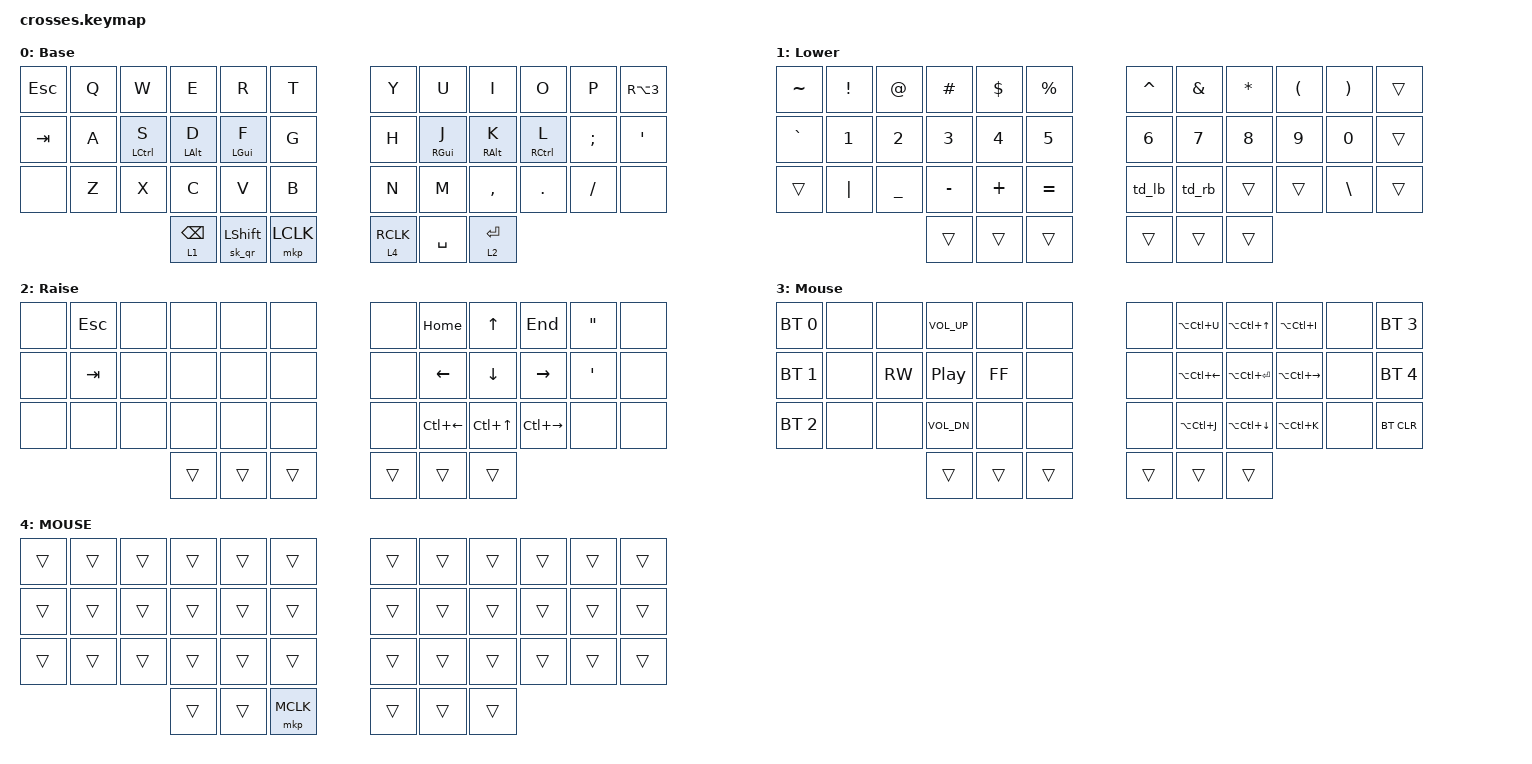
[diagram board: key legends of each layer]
#define ZMK_POINTING_DEFAULT_SCRL_VAL 1

#include <behaviors.dtsi>
#include <dt-bindings/zmk/bt.h>
#include <dt-bindings/zmk/keys.h>
#include <dt-bindings/zmk/pointing.h>

&msc {
    acceleration-exponent = <0>;
    time-to-max-speed-ms = <0>;
    delay-ms = <0>;
};

/ {
    chosen { zmk,physical-layout = &gggw_crosses_42_layout; };

    behaviors {
        ht_hrm: ht_hrm {
            compatible = "zmk,behavior-hold-tap";
            label = "HT_HRM";
            bindings = <&kp>, <&kp>;

            #binding-cells = <2>;
            flavor = "balanced";
            tapping-term-ms = <300>;
            require-prior-idle-ms = <150>;
            retro-tap;
        };

        ht_mo: ht_mo {
            compatible = "zmk,behavior-hold-tap";
            label = "HT_MO";
            bindings = <&mo>, <&kp>;

            #binding-cells = <2>;
            flavor = "balanced";
            tapping-term-ms = <300>;
            require-prior-idle-ms = <150>;
            retro-tap;
        };

        ht_mkp: ht_mkp {
            compatible = "zmk,behavior-hold-tap";
            label = "HT_MKP";
            bindings = <&mo>, <&mkp>;

            #binding-cells = <2>;
            flavor = "balanced";
            retro-tap;
            tapping-term-ms = <300>;
            require-prior-idle-ms = <150>;
        };

        td_lb: td_lb {
            compatible = "zmk,behavior-tap-dance";
            label = "TD_LB";
            #binding-cells = <0>;
            bindings = <&kp LEFT_BRACE>, <&kp LEFT_BRACKET>;

            tapping-term-ms = <500>;
        };

        td_rb: td_rb {
            compatible = "zmk,behavior-tap-dance";
            label = "TD_RB";
            #binding-cells = <0>;
            bindings = <&kp RIGHT_BRACE>, <&kp RIGHT_BRACKET>;

            tapping-term-ms = <500>;
        };

        sk_qr: sk_qr {
            compatible = "zmk,behavior-sticky-key";
            label = "SK_QR";
            bindings = <&kp>;
            #binding-cells = <1>;
            release-after-ms = <2500>;
            quick-release;
            lazy;
            ignore-modifiers;
        };
    };

    keymap {
        compatible = "zmk,keymap";

        default {
            display-name = "Base";
            bindings = <
&kp ESC  &kp Q  &kp W                   &kp E               &kp R               &kp T      &kp Y           &kp U                &kp I                &kp O                    &kp P     &kp RA(NUMBER_3)
&kp TAB  &kp A  &ht_hrm LEFT_CONTROL S  &ht_hrm LEFT_ALT D  &ht_hrm LEFT_GUI F  &kp G      &kp H           &ht_hrm RIGHT_GUI J  &ht_hrm RIGHT_ALT K  &ht_hrm RIGHT_CONTROL L  &kp SEMI  &kp SQT
&none    &kp Z  &kp X                   &kp C               &kp V               &kp B      &kp N           &kp M                &kp COMMA            &kp DOT                  &kp FSLH  &none
                                        &ht_mo 1 BACKSPACE  &sk_qr LEFT_SHIFT   &mkp LCLK  &ht_mkp 4 RCLK  &kp SPACE            &ht_mo 2 RET
            >;

            label = "LUKE";
        };

        sym_layer {
            display-name = "Lower";
            bindings = <
&kp TILDE  &kp EXCLAMATION  &kp AT     &kp HASH   &kp DOLLAR  &kp PERCENT  &kp CARET  &kp AMPERSAND  &kp ASTERISK  &kp LEFT_PARENTHESIS  &kp RIGHT_PARENTHESIS  &trans
&kp GRAVE  &kp N1           &kp N2     &kp N3     &kp N4      &kp N5       &kp N6     &kp N7         &kp N8        &kp N9                &kp N0                 &trans
&trans     &kp PIPE         &kp UNDER  &kp MINUS  &kp PLUS    &kp EQUAL    &td_lb     &td_rb         &trans        &trans                &kp BACKSLASH          &trans
                                       &trans     &trans      &trans       &trans     &trans         &trans
            >;

            label = "SYM";
        };

        nav_layer {
            display-name = "Raise";
            bindings = <
&none  &kp ESCAPE  &none  &none   &none   &none   &none   &kp HOME      &kp UP            &kp END        &kp DQT  &none
&none  &kp TAB     &none  &none   &none   &none   &none   &kp LEFT      &kp DOWN          &kp RIGHT      &kp SQT  &none
&none  &none       &none  &none   &none   &none   &none   &kp LC(LEFT)  &kp LC(UP_ARROW)  &kp LC(RIGHT)  &none    &none
                          &trans  &trans  &trans  &trans  &trans        &trans
            >;

            label = "NAV";
        };

        snap_layer {
            display-name = "Mouse";
            bindings = <
&bt BT_SEL 0  &none  &none     &kp C_VOL_UP  &none     &none   &none   &kp LA(LC(U))     &kp LA(LC(UP))    &kp LA(LC(I))      &none  &bt BT_SEL 3
&bt BT_SEL 1  &none  &kp C_RW  &kp C_PP      &kp C_FF  &none   &none   &kp LA(LC(LEFT))  &kp LA(LC(RET))   &kp LA(LC(RIGHT))  &none  &bt BT_SEL 4
&bt BT_SEL 2  &none  &none     &kp C_VOL_DN  &none     &none   &none   &kp LA(LC(J))     &kp LA(LC(DOWN))  &kp LA(LC(K))      &none  &bt BT_CLR
                               &trans        &trans    &trans  &trans  &trans            &trans
            >;

            label = "SNAP";
        };

        mouse_layer {
            bindings = <
&trans  &trans  &trans  &trans  &trans  &trans     &trans  &trans  &trans  &trans  &trans  &trans
&trans  &trans  &trans  &trans  &trans  &trans     &trans  &trans  &trans  &trans  &trans  &trans
&trans  &trans  &trans  &trans  &trans  &trans     &trans  &trans  &trans  &trans  &trans  &trans
                        &trans  &trans  &mkp MCLK  &trans  &trans  &trans
            >;

            label = "MOUSE";
        };
    };

    conditional_layers {
        compatible = "zmk,conditional-layers";

        snap_layer {
            if-layers = <1 2>;
            then-layer = <3>;
        };
    };
};
